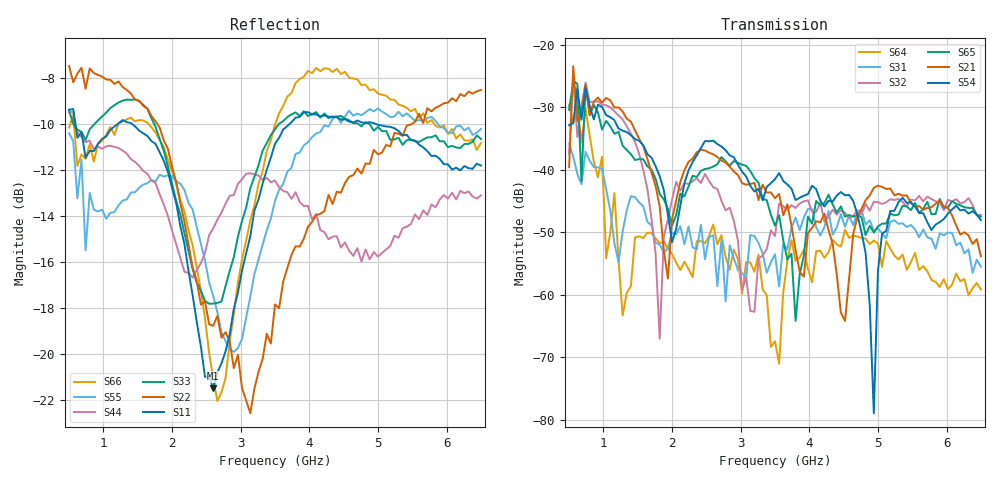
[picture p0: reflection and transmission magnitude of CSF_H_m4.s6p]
!Keysight Technologies,M9804A,MY58100912,A.14.10.03
!Date: Thursday, April 27, 2023 10:28:33
!Correction: S11(C  6-Port  )
!S12(C  6-Port  )
!S13(C  6-Port  )
!S14(C  6-Port  )
!S15(C  6-Port  )
!S16(C  6-Port  )
!S21(C  6-Port  )
!S22(C  6-Port  )
!S23(C  6-Port  )
!S24(C  6-Port  )
!S25(C  6-Port  )
!S26(C  6-Port  )
!S31(C  6-Port  )
!S32(C  6-Port  )
!S33(C  6-Port  )
!S34(C  6-Port  )
!S35(C  6-Port  )
!S36(C  6-Port  )
!S41(C  6-Port  )
!S42(C  6-Port  )
!S43(C  6-Port  )
!S44(C  6-Port  )
!S45(C  6-Port  )
!S46(C  6-Port  )
!S51(C  6-Port  )
!S52(C  6-Port  )
!S53(C  6-Port  )
!S54(C  6-Port  )
!S55(C  6-Port  )
!S56(C  6-Port  )
!S61(C  6-Port  )
!S62(C  6-Port  )
!S63(C  6-Port  )
!S64(C  6-Port  )
!S65(C  6-Port  )
!S66(C  6-Port  )
!S6P File: Measurement: :
# Hz S  RI  R 50
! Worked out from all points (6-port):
!   101 points, 500 MHz to 6.5 GHz, reference 50 ohm
!   strongest paths, dB at 500 MHz, 2 GHz, 3.5 GHz, 5 GHz, 6.5 GHz:
!     S54: -32.9, -51.6, -41.5, -56.2, -48.1
!     S21: -39.6, -47.9, -44.6, -42.5, -53.8
!     S65: -30.4, -48.9, -49.0, -49.1, -47.5
!     S32: -37.5, -44.8, -50.6, -45.2, -47.2
!     S31: -35.8, -50.1, -53.5, -49.4, -55.5
!     S64: -29.6, -53.5, -67.4, -51.8, -59.1
!   lowest |S11| = -21.5 dB at 2.6 GHz (marker M1), VSWR 1.18, Z = 42.5 + j2.13 ohm
!   |S11| at or under -10 dB: 591.5 MHz to 1.205 GHz (613.7 MHz wide, 68.3 % of centre); 1.421 GHz to 3.71 GHz (2.289 GHz wide, 89.2 % of centre); 4.975 GHz to end of sweep
